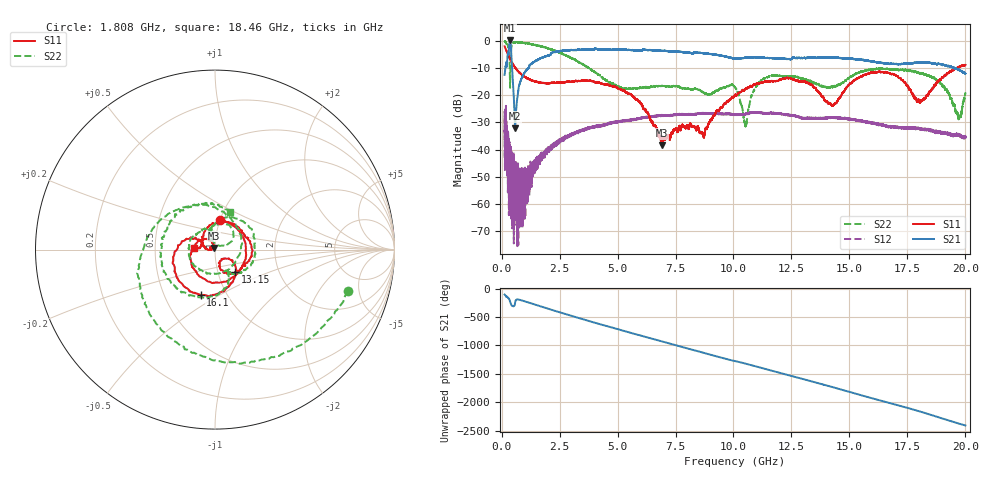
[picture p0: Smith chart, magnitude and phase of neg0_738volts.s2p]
!Created with skrf (http://scikit-rf.org).
# GHz S RI R 50.0
!freq ReS11 ImS11 ReS21 ImS21 ReS12 ImS12 ReS22 ImS22
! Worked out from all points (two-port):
!   20013 points, 130 MHz to 20 GHz, reference 50 ohm
!   highest |S21| = 0.18 dB at 356 MHz (marker M1); lowest = -32.1 dB at 581 MHz (marker M2)
!   |S21| within 3 dB of the highest: 315.1 MHz to 406.3 MHz (91.19 MHz wide, 25.3 % of centre); 4.035066 GHz to 4.044881 GHz (9.815 MHz wide, 0.243 % of centre)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
!   lowest |S11| = -38.3 dB at 6.901 GHz (marker M3), VSWR 1.02, Z = 49.3 + j0.94 ohm
!   |S11| at or under -10 dB: 600.4 MHz to 19.63 GHz (19.03 GHz wide, 188 % of centre); 19.63077 GHz to 19.6346 GHz (3.831 MHz wide, 0.0195 % of centre); 19.63868 GHz to 19.64029 GHz (1.606 MHz wide, 0.00817 % of centre)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
!   |S22| runs from -31.5 to -0.1 dB; largest |S21 - S12| = 1
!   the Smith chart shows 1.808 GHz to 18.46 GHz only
!   S11 on the Smith chart (normalised r, x): 1.808 GHz: 1.00, +0.34; 13.15 GHz: 1.21, -0.32; 16.1 GHz: 0.75, -0.41; 18.46 GHz: 0.79, +0.02
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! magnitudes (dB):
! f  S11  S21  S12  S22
! 130 MHz  -2.0  -12.5  -43.0  -0.2
! 356 MHz  -6.4  0.2  -37.8  -13.1
! 581 MHz  -9.7  -32.1  -46.8  -0.5
! 971 MHz  -13.1  -11.9  -53.6  -0.8
! 1.808 GHz  -15.4  -5.9  -42.0  -2.2
! 3.442 GHz  -14.7  -3.2  -33.0  -8.3
! 5.59 GHz  -19.7  -3.4  -29.0  -17.6
! 6.754 GHz  -34.2  -3.5  -27.6  -16.6
! 6.901 GHz  -38.3  -3.7  -27.4  -16.6
! 8.68 GHz  -34.2  -4.5  -26.7  -18.8
! 10.06 GHz  -19.9  -6.5  -27.0  -17.1
! 10.52 GHz  -17.7  -6.2  -27.0  -31.1
! 11.26 GHz  -15.3  -6.1  -26.5  -14.1
! 13.15 GHz  -15.4  -6.2  -28.3  -14.3
! 13.38 GHz  -16.2  -6.2  -28.5  -15.0
! 14.3 GHz  -23.6  -6.2  -28.2  -16.8
! 16.1 GHz  -11.5  -7.8  -30.3  -10.4
! 16.69 GHz  -11.8  -8.3  -31.4  -10.4
! 17.97 GHz  -21.9  -7.9  -32.2  -11.6
! 18.46 GHz  -18.6  -8.0  -32.6  -13.0
! 19.73 GHz  -9.6  -10.6  -34.7  -28.1
! 20 GHz  -8.8  -12.0  -35.1  -19.2
